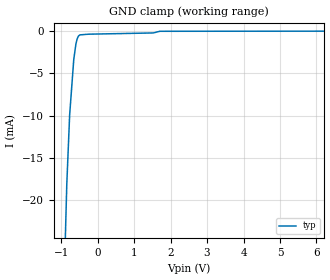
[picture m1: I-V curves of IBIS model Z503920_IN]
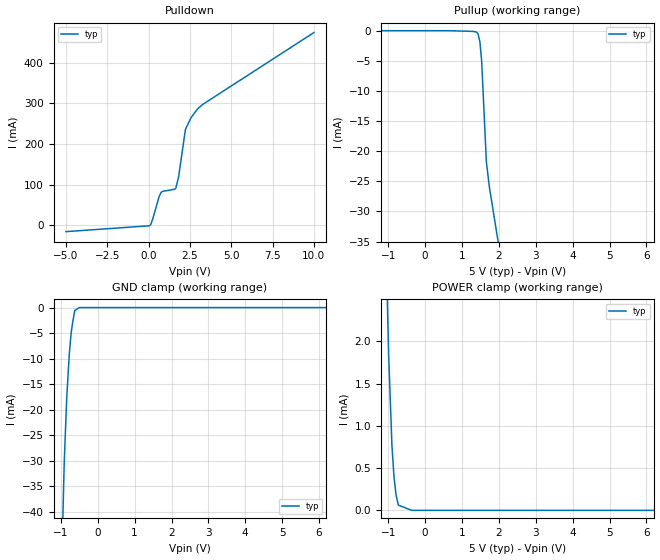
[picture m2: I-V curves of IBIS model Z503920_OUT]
| YOU ARE ONLY AUTHORIZED TO USE THIS SOFTWARE
| ACCORDING TO LICENSOR'S LICENSE RESTRICTIONS.
[IBIS Ver] 3.1
[File Name] mc54f20j.ibs
[File Rev] 2.0
[Source] Measured and created by ICX Technology
[Date] Friday 7/14/00 9:08:02 AM
[Copyright]
| (C) COPYRIGHT 1993-2000
| MENTOR GRAPHICS CORPORATION
| ICX STANDARD LIBRARY, ICX PROJECT MODELING,
| ICX CUSTOM MODELING, ICX VENDOR MODEL
| ALL RIGHTS RESERVED.
| THE FOLLOWING ARE TRADEMARKS OR SERVICE MARKS OF
| MENTOR GRAPHICS CORPORATION:ICX (R), ICX STANDARD
| LIBRARY(R), ICX PROJECT MODELING(R), ICX CUSTOM
| MODELING(R), qualityIBIS(TM), MODELVIEWER(TM),
| AND MODELEDITOR(TM)
| ALL COPIES OF SOFTWARE, INCLUDING BUT NOT LIMITED TO
| ANY MODIFICATIONS, ENHANCEMENTS OR DERIVATIVE WORKS,
| MUST CONTAIN ALL MENTOR GRAPHICS CORPORATION'S
| NOTICES AND LEGENDS, INCLUDING THOSE EMBEDDED IN
| SOFTWARE AND THOSE AFFIXED TO SOFTWARE MEDIUM
| AND CONTAINER, AS RECEIVED FROM MENTOR GRAPHICS
| CORPORATION.
|  ZAP Model Builder 2.7
[Component] MC54F20J
[Manufacturer] OnSemiconductor
[Package]
| variable   typ   min   max
R_pkg  .21ohms NA NA
L_pkg  4.543nH NA NA
C_pkg  1.8pF NA NA
[Pin] signal_name  model_name  R_pin  L_pin C_pin
1 A Z503920_IN .22 6.757n 2.434p
2 B Z503920_IN .212 4.757n 1.941p
3 NC NC .204 3.257n 1.448p
4 C Z503920_IN .196 2.257n .955p
5 D Z503920_IN .204 3.257n 1.448p
6 Y Z503920_OUT .212 4.757n 1.941p
7 GND GND .22 6.757n 2.434p
8 Y Z503920_OUT .22 6.757n 2.434p
9 A Z503920_IN .212 4.757n 1.941p
10 B Z503920_IN .204 3.257n 1.448p
11 NC NC .196 2.257n .955p
12 C Z503920_IN .204 3.257n 1.448p
13 D Z503920_IN .212 4.757n 1.941p
14 VCC POWER .22 6.757n 2.434p
| Models and submodels in the file (2): Z503920_IN (Input), Z503920_OUT (Output)
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| (C) COPYRIGHT 1993-2000
| MENTOR GRAPHICS CORPORATION
| ICX STANDARD LIBRARY, ICX PROJECT MODELING,
| ICX CUSTOM MODELING, ICX VENDOR MODEL
| ALL RIGHTS RESERVED.
| THE FOLLOWING ARE TRADEMARKS OR SERVICE MARKS OF
| MENTOR GRAPHICS CORPORATION:ICX (R), ICX STANDARD
| LIBRARY(R), ICX PROJECT MODELING(R), ICX CUSTOM
| MODELING(R), qualityIBIS(TM), MODELVIEWER(TM),
| AND MODELEDITOR(TM)
| ALL COPIES OF SOFTWARE, INCLUDING BUT NOT LIMITED TO
| ANY MODIFICATIONS, ENHANCEMENTS OR DERIVATIVE WORKS,
| MUST CONTAIN ALL MENTOR GRAPHICS CORPORATION'S
| NOTICES AND LEGENDS, INCLUDING THOSE EMBEDDED IN
| SOFTWARE AND THOSE AFFIXED TO SOFTWARE MEDIUM
| AND CONTAINER, AS RECEIVED FROM MENTOR GRAPHICS
| CORPORATION.
| Model Application Version 1.89 2/18/99.
[Model] Z503920_IN
Model_type Input
Vinl = 800.0mV
Vinh = 2.000V
C_comp 4.000pF NA NA
| variable typ   min   max
[Voltage Range] 5.000V NA NA
[GND Clamp Reference] 0.000V NA NA
[POWER Clamp Reference] 5.000V NA NA
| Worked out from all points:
|   GND clamp passes 1 mA (typ) near -0.57 V on its own axis
[GND Clamp]
-5V       -680.5mA   NA         NA
-844.4mV  -18.12mA   NA         NA
-766.3mV  -9.939mA   NA         NA
-653.3mV  -3.348mA   NA         NA
-594.2mV  -1.505mA   NA         NA
-561.4mV  -920.1uA   NA         NA
-526.1mV  -576.8uA   NA         NA
-483.1mV  -432.9uA   NA         NA
-241.5mV  -349.6uA   NA         NA
1.525V    -204.2uA   NA         NA
1.704V    -6.228uA   NA         NA
10V       16.99uA    NA         NA
[POWER Clamp]
-5V       0A         NA         NA
10V       0A         NA         NA
| (C) COPYRIGHT 1993-2000
| MENTOR GRAPHICS CORPORATION
| ICX STANDARD LIBRARY, ICX PROJECT MODELING,
| ICX CUSTOM MODELING, ICX VENDOR MODEL
| ALL RIGHTS RESERVED.
| THE FOLLOWING ARE TRADEMARKS OR SERVICE MARKS OF
| MENTOR GRAPHICS CORPORATION:ICX (R), ICX STANDARD
| LIBRARY(R), ICX PROJECT MODELING(R), ICX CUSTOM
| MODELING(R), qualityIBIS(TM), MODELVIEWER(TM),
| AND MODELEDITOR(TM)
| ALL COPIES OF SOFTWARE, INCLUDING BUT NOT LIMITED TO
| ANY MODIFICATIONS, ENHANCEMENTS OR DERIVATIVE WORKS,
| MUST CONTAIN ALL MENTOR GRAPHICS CORPORATION'S
| NOTICES AND LEGENDS, INCLUDING THOSE EMBEDDED IN
| SOFTWARE AND THOSE AFFIXED TO SOFTWARE MEDIUM
| AND CONTAINER, AS RECEIVED FROM MENTOR GRAPHICS
| CORPORATION.
| Model Application Version 1.89 2/18/99.
[Model] Z503920_OUT
Model_type Output
Vref=0.000V
Rref=500.0ohms
Cref=50.00pF
Vmeas=1.500V
C_comp 8.000pF NA NA
| variable typ   min   max
[Voltage Range] 5.000V NA NA
[POWER Clamp Reference] 5.000V NA NA
[Pullup Reference] 5.000V NA NA
[Pulldown Reference] 0.000V NA NA
[GND Clamp Reference] 0.000V NA NA
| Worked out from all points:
|   slope of the pulldown table from 0 to 0.75 V, typ, clamps not added: 9.17 ohm
|   slope of the pullup table from 0 to 0.75 V, typ, clamps not added: 39.1 kohm
|   GND clamp passes 1 mA (typ) near -0.63 V on its own axis
|   POWER clamp passes 1 mA (typ) near -0.92 V on its own axis
[GND Clamp]
-5V       -2.39A     NA         NA
-1.123V   -109.3mA   NA         NA
-1.015V   -61.3mA    NA         NA
-910.7mV  -30.56mA   NA         NA
-842.5mV  -17.76mA   NA         NA
-773.3mV  -9.177mA   NA         NA
-721.7mV  -4.916mA   NA         NA
-678.8mV  -2.827mA   NA         NA
-623.8mV  -578.2uA   NA         NA
-499mV    0A         NA         NA
10V       0A         NA         NA
[Pulldown]
-5V       -15.75mA   NA         NA
68.4mV    -731.7uA   NA         NA
251.8mV   15.46mA    NA         NA
629.9mV   69.89mA    NA         NA
759mV     81.1mA     NA         NA
1.645V    91.11mA    NA         NA
1.814V    118.8mA    NA         NA
2.227V    235.7mA    NA         NA
2.553V    263.6mA    NA         NA
2.891V    282.6mA    NA         NA
3.35V     299.2mA    NA         NA
10V       474mA      NA         NA
[Pullup]
-5V       16.2uA     NA         NA
644mV     16.2uA     NA         NA
1.299V    -102.4uA   NA         NA
1.382V    -199uA     NA         NA
1.42V     -378.9uA   NA         NA
1.436V    -566.9uA   NA         NA
1.484V    -1.801mA   NA         NA
1.533V    -5.135mA   NA         NA
1.66V     -21.75mA   NA         NA
1.74V     -25.89mA   NA         NA
10V       -341.6mA   NA         NA
[POWER Clamp]
-5V       108mA      NA         NA
-1.162V   4.93mA     NA         NA
-991mV    1.845mA    NA         NA
-901mV    761.8uA    NA         NA
-845mV    394.6uA    NA         NA
-790mV    183.2uA    NA         NA
-728mV    62.27uA    NA         NA
-364mV    0A         NA         NA
10V       0A         NA         NA
[Ramp]
| variable typ min max
dV/dt_r 2.023/1.967n NA NA
dV/dt_f 2.023/447.3p NA NA
R_load = 500.0Ohms
